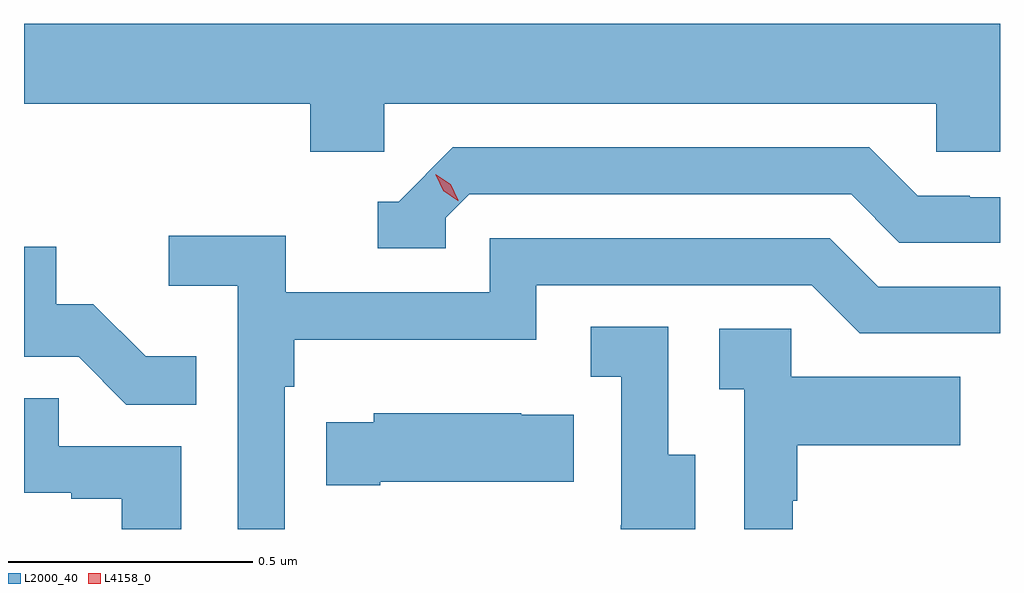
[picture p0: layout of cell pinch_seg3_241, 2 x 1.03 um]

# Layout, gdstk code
import gdstk
lib = gdstk.Library(unit=1e-6, precision=1e-09)
def P(c, l, *ps):  # polygons
    for p in ps: c.add(gdstk.Polygon(p, *l))
L2000_40 = (2000, 40)
L4158_0 = (4158, 0)

pinch_seg3_241 = lib.new_cell('pinch_seg3_241')
P(pinch_seg3_241, L2000_40, [(897.834,735.548),(898.965,735.548),(898.965,735.45),(899.096,735.45),(899.096,735.712),(897.096,735.712),(897.096,735.548),(897.683,735.548),(897.683,735.45),(897.834,735.45)],
  [(897.96,735.315),(898.008,735.363),(898.791,735.363),(898.89,735.264),(899.096,735.264),(899.096,735.357),(899.034,735.357),(899.034,735.36),(898.927,735.36),(898.828,735.459),(897.975,735.459),(897.864,735.348),(897.821,735.348),(897.821,735.252),(897.96,735.252)],
  [(897.63,734.969),(897.65,734.969),(897.65,735.065),(898.146,735.065),(898.146,735.177),(898.71,735.177),(898.809,735.078),(899.096,735.078),(899.096,735.174),(898.846,735.174),(898.747,735.273),(898.05,735.273),(898.05,735.162),(897.632,735.162),(897.632,735.278),(897.393,735.278),(897.393,735.176),(897.534,735.176),(897.534,734.677),(897.63,734.677)],
  [(897.449,735.031),(897.345,735.031),(897.238,735.138),(897.162,735.138),(897.162,735.255),(897.096,735.255),(897.096,735.03),(897.208,735.03),(897.306,734.932),(897.449,734.932)],
  [(898.471,734.829),(898.416,734.829),(898.416,735.092),(898.257,735.092),(898.257,734.989),(898.32,734.989),(898.32,734.685),(898.319,734.685),(898.319,734.677),(898.471,734.677)],
  [(898.671,734.735),(898.681,734.735),(898.681,734.849),(899.015,734.849),(899.015,734.989),(898.668,734.989),(898.668,735.087),(898.521,735.087),(898.521,734.963),(898.572,734.963),(898.572,734.677),(898.671,734.677)],
  [(897.418,734.847),(897.167,734.847),(897.167,734.945),(897.096,734.945),(897.096,734.751),(897.193,734.751),(897.193,734.739),(897.296,734.739),(897.296,734.677),(897.418,734.677)],
  [(897.826,734.774),(898.223,734.774),(898.223,734.911),(898.115,734.911),(898.115,734.914),(897.813,734.914),(897.813,734.896),(897.715,734.896),(897.715,734.767),(897.826,734.767)])
P(pinch_seg3_241, L4158_0, [(897.985,735.35),(897.955,735.37),(897.94,735.403),(897.94,735.404),(897.94,735.404),(897.97,735.384),(897.986,735.351),(897.986,735.35)])

lib.write_gds('pinch_seg3_241.gds')
